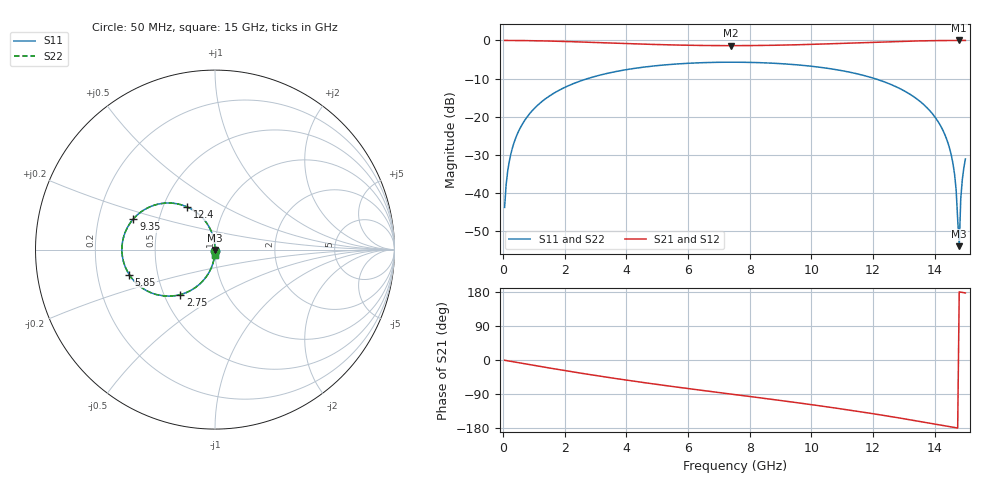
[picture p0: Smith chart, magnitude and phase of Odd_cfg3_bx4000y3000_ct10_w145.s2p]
! Sonnet Data File
! From: emgraph Version : 16.52
! From Emgraph Data: Waveguide2
! Data File Written: 09/24/2017 12:02:49
!< HDATE 09/24/2017 11:31:15
!< MDATE 09/24/2017 11:31:15
# GHZ S MA R 50.00000
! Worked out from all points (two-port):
!   300 points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, 50 MHz to 15 GHz, reference 50 ohm
!   highest |S21| = 0.00 dB at 14.8 GHz (marker M1); lowest = -1.4 dB at 7.4 GHz (marker M2)
!   |S21| within 3 dB of the highest: start of sweep to end of sweep
!   lowest |S11| = -54.0 dB at 14.8 GHz (marker M3), VSWR 1.00, Z = 50 - j0.2 ohm
!   |S11| at or under -10 dB: start of sweep to 2.744 GHz; 12.06 GHz to end of sweep
!   |S22| runs from -54.0 to -5.7 dB; largest |S21 - S12| = 0
!   S11 on the Smith chart (normalised r, x): 50 MHz: 1.00, -0.01; 2.75 GHz: 0.60, -0.34; 5.85 GHz: 0.34, -0.13; 9.35 GHz: 0.36, +0.16; 12.4 GHz: 0.66, +0.34; 15 GHz: 1.00, -0.06
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0.05  0.006467 -90.7  1 -0.7  1 -0.7  0.006467 -90.7
!< P1 F=0.05 Eeff=(6.35373465 -2.9211e-5) Z0=(28.0434801 6.40743e-5) R=0.18927616 C=0.07889757
!< P2 F=0.05 Eeff=(6.35373465 -2.9211e-5) Z0=(28.0434801 6.40743e-5) R=0.18927616 C=0.07889757
0.15  0.01931 -92.2  0.9998 -2.1  0.9998 -2.1  0.01931 -92.2
0.25  0.03213 -93.6  0.9995 -3.6  0.9995 -3.6  0.03213 -93.6
0.65  0.08304 -99.2  0.9965 -9.2  0.9965 -9.2  0.08304 -99.2
1.4  0.1747 -109.7  0.9846 -19.7  0.9846 -19.7  0.1747 -109.7
2.55  0.298 -125.1  0.9545 -35.1  0.9545 -35.1  0.298 -125.1
2.75  0.3168 -127.7  0.9485 -37.7  0.9485 -37.7  0.3168 -127.7
5.05  0.47 -155.0  0.8827 -65.0  0.8827 -65.0  0.47 -155.0
5.85  0.4978 -163.7  0.8673 -73.7  0.8673 -73.7  0.4978 -163.7
7.4  0.5188 180.0  0.855 -90.0  0.855 -90.0  0.5188 180.0
7.55  0.5186 178.4  0.8551 -91.6  0.8551 -91.6  0.5186 178.4
9.35  0.4858 159.4  0.8742 -110.6  0.8742 -110.6  0.4858 159.4
10.05  0.4568 151.6  0.8897 -118.4  0.8897 -118.4  0.4568 151.6
12.4  0.2834 123.1  0.959 -146.9  0.959 -146.9  0.2834 123.1
12.55  0.2682 121.1  0.9633 -148.9  0.9633 -148.9  0.2682 121.1
13.7  0.1379 105.4  0.9904 -164.6  0.9904 -164.6  0.1379 105.4
14.35  0.05614 96.2  0.9984 -173.8  0.9984 -173.8  0.05614 96.2
14.65  0.01743 91.9  0.9998 -178.1  0.9998 -178.1  0.01743 91.9
14.7  0.01096 91.2  0.9999 -178.8  0.9999 -178.8  0.01096 91.2
14.8  0.002005 -90.3  1 179.8  1 179.8  0.002005 -90.3
14.85  0.008486 -91.0  1 179.1  1 179.1  0.008486 -91.0
15  0.02791 -93.1  0.9996 176.9  0.9996 176.9  0.02791 -93.1
